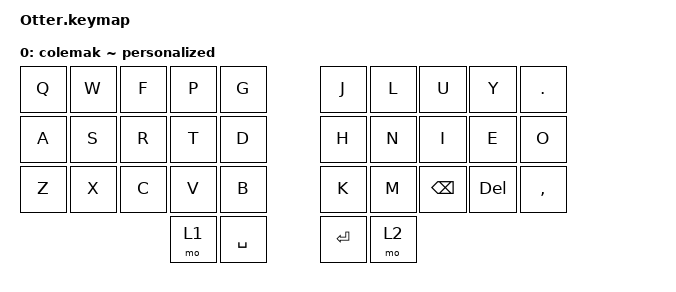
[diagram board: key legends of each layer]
#include <behaviors.dtsi>
#include <dt-bindings/zmk/keys.h>
#include <dt-bindings/zmk/bt.h>

/ {
    keymap {
        compatible = "zmk,keymap";

        zero { 
             display-name = "colemak ~ personalized";
            bindings = <
                &kp Q      &kp W      &kp F      &kp P      &kp G        &kp J      &kp L      &kp U          &kp Y      &kp DOT
                &kp A      &kp S      &kp R      &kp T      &kp D        &kp H      &kp N      &kp I          &kp E      &kp O
                &kp Z      &kp X      &kp C      &kp V      &kp B        &kp K      &kp M      &kp BACKSPACE  &kp DELETE &kp COMMA
                                                 &mo 1      &kp SPACE    &kp ENTER  &mo 2
            >;
        };
    };
};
